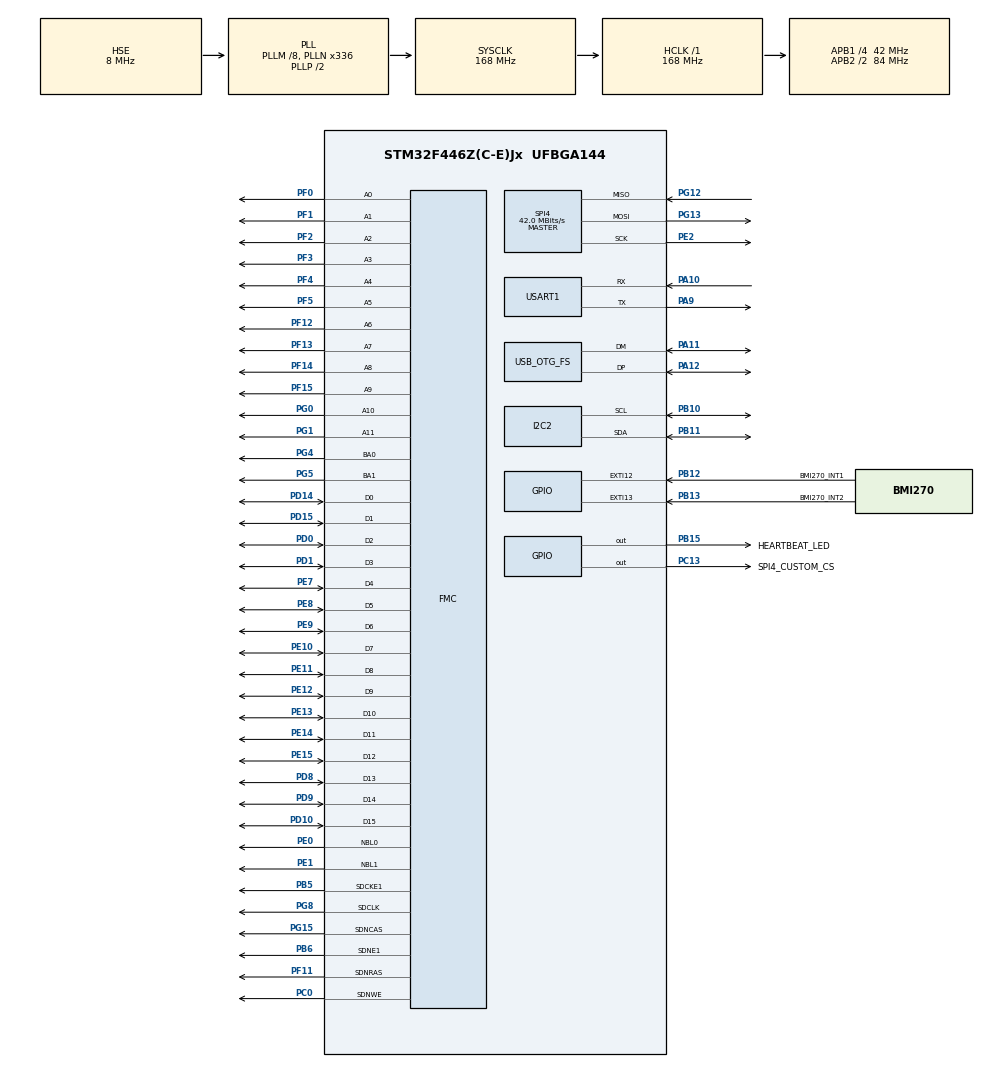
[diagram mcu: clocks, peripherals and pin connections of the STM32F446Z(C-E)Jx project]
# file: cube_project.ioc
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FMC.CASLatency1=FMC_SDRAM_CAS_LATENCY_2
FMC.ExitSelfRefreshDelay1=7
FMC.LoadToActiveDelay1=2
FMC.RCDDelay1=2
FMC.RPDelay1=2
FMC.RPDelay2=2
FMC.ReadPipeDelay1=FMC_SDRAM_RPIPE_DELAY_1
FMC.ReadPipeDelay2=FMC_SDRAM_RPIPE_DELAY_1
FMC.RowCycleDelay1=7
FMC.RowCycleDelay2=7
FMC.SDClockPeriod1=FMC_SDRAM_CLOCK_PERIOD_2
FMC.SDClockPeriod2=FMC_SDRAM_CLOCK_PERIOD_2
FMC.SelfRefreshTime1=4
FMC.WriteRecoveryTime1=3
Mcu.Family=STM32F4
Mcu.Name=STM32F446Z(C-E)Jx
Mcu.Package=UFBGA144
NVIC.PriorityGroup=NVIC_PRIORITYGROUP_4
PA10.Mode=Asynchronous
PA10.Signal=USART1_RX
PA11.Mode=Device_Only
PA11.Signal=USB_OTG_FS_DM
PA12.Mode=Device_Only
PA12.Signal=USB_OTG_FS_DP
PA13.Mode=Serial_Wire
PA13.Signal=SYS_JTMS-SWDIO
PA14.Mode=Serial_Wire
PA14.Signal=SYS_JTCK-SWCLK
PA9.Mode=Asynchronous
PA9.Signal=USART1_TX
PB10.Mode=I2C
PB10.Signal=I2C2_SCL
PB11.Mode=I2C
PB11.Signal=I2C2_SDA
PB12.GPIO_Label=BMI270_INT1
PB12.Signal=GPXTI12
PB13.GPIO_Label=BMI270_INT2
PB13.Signal=GPXTI13
PB15.GPIO_Label=HEARTBEAT_LED
PB15.Signal=GPIO_Output
PB5.Mode=SdramChipSelect2_1
PB5.Signal=FMC_SDCKE1
PB6.Mode=SdramChipSelect2_1
PB6.Signal=FMC_SDNE1
PC0.Signal=FMC_SDNWE
PC13.GPIO_Label=SPI4_CUSTOM_CS
PC13.Signal=GPIO_Output
PD0.Signal=FMC_D2_DA2
PD1.Signal=FMC_D3_DA3
PD10.Signal=FMC_D15_DA15
PD14.Signal=FMC_D0_DA0
PD15.Signal=FMC_D1_DA1
PD8.Signal=FMC_D13_DA13
PD9.Signal=FMC_D14_DA14
PE0.Signal=FMC_NBL0
PE1.Signal=FMC_NBL1
PE10.Signal=FMC_D7_DA7
PE11.Signal=FMC_D8_DA8
PE12.Signal=FMC_D9_DA9
PE13.Signal=FMC_D10_DA10
PE14.Signal=FMC_D11_DA11
PE15.Signal=FMC_D12_DA12
PE2.Mode=Full_Duplex_Master
PE2.Signal=SPI4_SCK
PE7.Signal=FMC_D4_DA4
PE8.Signal=FMC_D5_DA5
PE9.Signal=FMC_D6_DA6
PF0.Signal=FMC_A0
PF1.Signal=FMC_A1
PF11.Signal=FMC_SDNRAS
PF12.Signal=FMC_A6
PF13.Signal=FMC_A7
PF14.Signal=FMC_A8
PF15.Signal=FMC_A9
PF2.Signal=FMC_A2
PF3.Signal=FMC_A3
PF4.Signal=FMC_A4
PF5.Signal=FMC_A5
PG0.Signal=FMC_A10
PG1.Signal=FMC_A11
PG12.Mode=Full_Duplex_Master
PG12.Signal=SPI4_MISO
PG13.Mode=Full_Duplex_Master
PG13.Signal=SPI4_MOSI
PG15.Signal=FMC_SDNCAS
PG4.Signal=FMC_A14_BA0
PG5.Signal=FMC_A15_BA1
PG8.Signal=FMC_SDCLK
PH0-OSC_IN.Mode=HSE-External-Oscillator
PH0-OSC_IN.Signal=RCC_OSC_IN
PH1-OSC_OUT.Mode=HSE-External-Oscillator
PH1-OSC_OUT.Signal=RCC_OSC_OUT
ProjectManager.HeapSize=0x200
ProjectManager.StackSize=0x400
ProjectManager.TargetToolchain=STM32CubeIDE
RCC.AHBFreq_Value=168000000
RCC.APB1CLKDivider=RCC_HCLK_DIV4
RCC.APB1Freq_Value=42000000
RCC.APB1TimFreq_Value=84000000
RCC.APB2CLKDivider=RCC_HCLK_DIV2
RCC.APB2Freq_Value=84000000
RCC.APB2TimFreq_Value=168000000
RCC.CortexFreq_Value=168000000
RCC.HCLKFreq_Value=168000000
RCC.HSE_VALUE=8000000
RCC.PLLM=8
RCC.PLLN=336
RCC.PLLQ=7
RCC.SYSCLKFreq_VALUE=168000000
RCC.SYSCLKSource=RCC_SYSCLKSOURCE_PLLCLK
RCC.USBFreq_Value=48000000
RCC.VCOOutputFreq_Value=336000000
SH.FMC_A0.0=FMC_A0,12b-sda1
SH.FMC_A1.0=FMC_A1,12b-sda1
SH.FMC_A10.0=FMC_A10,12b-sda1
SH.FMC_A11.0=FMC_A11,12b-sda1
SH.FMC_A14_BA0.0=FMC_BA0,FourSdramBanks1
SH.FMC_A15_BA1.0=FMC_BA1,FourSdramBanks1
SH.FMC_A2.0=FMC_A2,12b-sda1
SH.FMC_A3.0=FMC_A3,12b-sda1
SH.FMC_A4.0=FMC_A4,12b-sda1
SH.FMC_A5.0=FMC_A5,12b-sda1
SH.FMC_A6.0=FMC_A6,12b-sda1
SH.FMC_A7.0=FMC_A7,12b-sda1
SH.FMC_A8.0=FMC_A8,12b-sda1
SH.FMC_A9.0=FMC_A9,12b-sda1
SH.FMC_D0_DA0.0=FMC_D0,sd-16b-d1
SH.FMC_D10_DA10.0=FMC_D10,sd-16b-d1
SH.FMC_D11_DA11.0=FMC_D11,sd-16b-d1
SH.FMC_D12_DA12.0=FMC_D12,sd-16b-d1
SH.FMC_D13_DA13.0=FMC_D13,sd-16b-d1
SH.FMC_D14_DA14.0=FMC_D14,sd-16b-d1
SH.FMC_D15_DA15.0=FMC_D15,sd-16b-d1
SH.FMC_D1_DA1.0=FMC_D1,sd-16b-d1
SH.FMC_D2_DA2.0=FMC_D2,sd-16b-d1
SH.FMC_D3_DA3.0=FMC_D3,sd-16b-d1
SH.FMC_D4_DA4.0=FMC_D4,sd-16b-d1
SH.FMC_D5_DA5.0=FMC_D5,sd-16b-d1
SH.FMC_D6_DA6.0=FMC_D6,sd-16b-d1
SH.FMC_D7_DA7.0=FMC_D7,sd-16b-d1
SH.FMC_D8_DA8.0=FMC_D8,sd-16b-d1
SH.FMC_D9_DA9.0=FMC_D9,sd-16b-d1
SH.FMC_NBL0.0=FMC_NBL0,Sd2ByteEnable1
SH.FMC_NBL1.0=FMC_NBL1,Sd2ByteEnable1
SH.FMC_SDCLK.0=FMC_SDCLK,12b-sda1
SH.FMC_SDNCAS.0=FMC_SDNCAS,12b-sda1
SH.FMC_SDNRAS.0=FMC_SDNRAS,12b-sda1
SH.FMC_SDNWE.0=FMC_SDNWE,12b-sda1
SPI4.CalculateBaudRate=42.0 MBits/s
SPI4.Direction=SPI_DIRECTION_2LINES
SPI4.Mode=SPI_MODE_MASTER
SPI4.VirtualType=VM_MASTER
USART1.VirtualMode=VM_ASYNC
USB_OTG_FS.VirtualMode=Device_Only
board=custom

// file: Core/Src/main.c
/* USER CODE BEGIN Header */
/**
  ******************************************************************************
  * @file           : main.c
  * @brief          : Main program body
  ******************************************************************************
  * @attention
  *
  * Copyright (c) 2023 STMicroelectronics.
  * All rights reserved.
  *
  * This software is licensed under terms that can be found in the LICENSE file
  * in the root directory of this software component.
  * If no LICENSE file comes with this software, it is provided AS-IS.
  *
  ******************************************************************************
  */
/* USER CODE END Header */
#include "main.h"

/* USER CODE BEGIN Includes */
#include "sdram.h"
#include "bmi270.h"
#include "bmi270_port.h"
#include <stdio.h>
/* USER CODE END Includes */

/* USER CODE BEGIN PD */
/*! Earth's gravity in m/s^2 */
#define GRAVITY_EARTH  (9.80665f)
/* USER CODE END PD */

I2C_HandleTypeDef hi2c2;

SPI_HandleTypeDef hspi4;

UART_HandleTypeDef huart1;

PCD_HandleTypeDef hpcd_USB_OTG_FS;

SDRAM_HandleTypeDef hsdram1;

void SystemClock_Config(void);
static void MX_GPIO_Init(void);
static void MX_FMC_Init(void);
static void MX_I2C2_Init(void);
static void MX_USART1_UART_Init(void);
static void MX_USB_OTG_FS_PCD_Init(void);
static void MX_SPI4_Init(void);
/* USER CODE BEGIN PFP */
static int8_t set_accel_config(struct bmi2_dev *bmi2_dev);
static float lsb_to_mps2(int16_t val, float g_range, uint8_t bit_width);
static void process_bmi270_test();
/* USER CODE END PFP */

int main(void)
{

  /* MCU Configuration--------------------------------------------------------*/

  /* Reset of all peripherals, Initializes the Flash interface and the Systick. */
  HAL_Init();

  /* Configure the system clock */
  SystemClock_Config();

  /* Initialize all configured peripherals */
  MX_GPIO_Init();
  MX_FMC_Init();
  MX_I2C2_Init();
  MX_USART1_UART_Init();
  MX_USB_OTG_FS_PCD_Init();
  MX_SPI4_Init();
  /* USER CODE BEGIN 2 */
  bsp_sdram_init(&hsdram1);
  uint8_t testStatus = bsp_sdram_perform_test(&hsdram1);
  set_active_i2s_bus(&hi2c2);
  process_bmi270_test();
  /* USER CODE END 2 */

  /* Infinite loop */
  /* USER CODE BEGIN WHILE */
  while (1)
  {
	  if(!testStatus){
	 		  HAL_GPIO_TogglePin(HEARTBEAT_LED_GPIO_Port, HEARTBEAT_LED_Pin);
	 		  HAL_Delay(100);
	 	  }
	 	  else{
	 		 HAL_GPIO_TogglePin(HEARTBEAT_LED_GPIO_Port, HEARTBEAT_LED_Pin);
	 		 HAL_Delay(1000);
	 	  }

    /* USER CODE END WHILE */

  }
}

void SystemClock_Config(void)
{
  RCC_OscInitTypeDef RCC_OscInitStruct = {0};
  RCC_ClkInitTypeDef RCC_ClkInitStruct = {0};

  /** Configure the main internal regulator output voltage
  */
  __HAL_RCC_PWR_CLK_ENABLE();
  __HAL_PWR_VOLTAGESCALING_CONFIG(PWR_REGULATOR_VOLTAGE_SCALE1);

  /** Initializes the RCC Oscillators according to the specified parameters
  * in the RCC_OscInitTypeDef structure.
  */
  RCC_OscInitStruct.OscillatorType = RCC_OSCILLATORTYPE_HSE;
  RCC_OscInitStruct.HSEState = RCC_HSE_ON;
  RCC_OscInitStruct.PLL.PLLState = RCC_PLL_ON;
  RCC_OscInitStruct.PLL.PLLSource = RCC_PLLSOURCE_HSE;
  RCC_OscInitStruct.PLL.PLLM = 8;
  RCC_OscInitStruct.PLL.PLLN = 336;
  RCC_OscInitStruct.PLL.PLLP = RCC_PLLP_DIV2;
  RCC_OscInitStruct.PLL.PLLQ = 7;
  RCC_OscInitStruct.PLL.PLLR = 2;
  if (HAL_RCC_OscConfig(&RCC_OscInitStruct) != HAL_OK)
  {
    Error_Handler();
  }

  /** Initializes the CPU, AHB and APB buses clocks
  */
  RCC_ClkInitStruct.ClockType = RCC_CLOCKTYPE_HCLK|RCC_CLOCKTYPE_SYSCLK
                              |RCC_CLOCKTYPE_PCLK1|RCC_CLOCKTYPE_PCLK2;
  RCC_ClkInitStruct.SYSCLKSource = RCC_SYSCLKSOURCE_PLLCLK;
  RCC_ClkInitStruct.AHBCLKDivider = RCC_SYSCLK_DIV1;
  RCC_ClkInitStruct.APB1CLKDivider = RCC_HCLK_DIV4;
  RCC_ClkInitStruct.APB2CLKDivider = RCC_HCLK_DIV2;

  if (HAL_RCC_ClockConfig(&RCC_ClkInitStruct, FLASH_LATENCY_5) != HAL_OK)
  {
    Error_Handler();
  }
}

static void MX_I2C2_Init(void)
{

  hi2c2.Instance = I2C2;
  hi2c2.Init.ClockSpeed = 100000;
  hi2c2.Init.DutyCycle = I2C_DUTYCYCLE_2;
  hi2c2.Init.OwnAddress1 = 0;
  hi2c2.Init.AddressingMode = I2C_ADDRESSINGMODE_7BIT;
  hi2c2.Init.DualAddressMode = I2C_DUALADDRESS_DISABLE;
  hi2c2.Init.OwnAddress2 = 0;
  hi2c2.Init.GeneralCallMode = I2C_GENERALCALL_DISABLE;
  hi2c2.Init.NoStretchMode = I2C_NOSTRETCH_DISABLE;
  if (HAL_I2C_Init(&hi2c2) != HAL_OK)
  {
    Error_Handler();
  }

}

static void MX_SPI4_Init(void)
{

  /* SPI4 parameter configuration*/
  hspi4.Instance = SPI4;
  hspi4.Init.Mode = SPI_MODE_MASTER;
  hspi4.Init.Direction = SPI_DIRECTION_2LINES;
  hspi4.Init.DataSize = SPI_DATASIZE_8BIT;
  hspi4.Init.CLKPolarity = SPI_POLARITY_LOW;
  hspi4.Init.CLKPhase = SPI_PHASE_1EDGE;
  hspi4.Init.NSS = SPI_NSS_SOFT;
  hspi4.Init.BaudRatePrescaler = SPI_BAUDRATEPRESCALER_2;
  hspi4.Init.FirstBit = SPI_FIRSTBIT_MSB;
  hspi4.Init.TIMode = SPI_TIMODE_DISABLE;
  hspi4.Init.CRCCalculation = SPI_CRCCALCULATION_DISABLE;
  hspi4.Init.CRCPolynomial = 10;
  if (HAL_SPI_Init(&hspi4) != HAL_OK)
  {
    Error_Handler();
  }

}

static void MX_USART1_UART_Init(void)
{

  huart1.Instance = USART1;
  huart1.Init.BaudRate = 115200;
  huart1.Init.WordLength = UART_WORDLENGTH_8B;
  huart1.Init.StopBits = UART_STOPBITS_1;
  huart1.Init.Parity = UART_PARITY_NONE;
  huart1.Init.Mode = UART_MODE_TX_RX;
  huart1.Init.HwFlowCtl = UART_HWCONTROL_NONE;
  huart1.Init.OverSampling = UART_OVERSAMPLING_16;
  if (HAL_UART_Init(&huart1) != HAL_OK)
  {
    Error_Handler();
  }

}

static void MX_USB_OTG_FS_PCD_Init(void)
{

  hpcd_USB_OTG_FS.Instance = USB_OTG_FS;
  hpcd_USB_OTG_FS.Init.dev_endpoints = 6;
  hpcd_USB_OTG_FS.Init.speed = PCD_SPEED_FULL;
  hpcd_USB_OTG_FS.Init.dma_enable = DISABLE;
  hpcd_USB_OTG_FS.Init.phy_itface = PCD_PHY_EMBEDDED;
  hpcd_USB_OTG_FS.Init.Sof_enable = DISABLE;
  hpcd_USB_OTG_FS.Init.low_power_enable = DISABLE;
  hpcd_USB_OTG_FS.Init.lpm_enable = DISABLE;
  hpcd_USB_OTG_FS.Init.vbus_sensing_enable = DISABLE;
  hpcd_USB_OTG_FS.Init.use_dedicated_ep1 = DISABLE;
  if (HAL_PCD_Init(&hpcd_USB_OTG_FS) != HAL_OK)
  {
    Error_Handler();
  }

}

/* FMC initialization function */
static void MX_FMC_Init(void)
{

  FMC_SDRAM_TimingTypeDef SdramTiming = {0};

  /** Perform the SDRAM1 memory initialization sequence
  */
  hsdram1.Instance = FMC_SDRAM_DEVICE;
  /* hsdram1.Init */
  hsdram1.Init.SDBank = FMC_SDRAM_BANK2;
  hsdram1.Init.ColumnBitsNumber = FMC_SDRAM_COLUMN_BITS_NUM_8;
  hsdram1.Init.RowBitsNumber = FMC_SDRAM_ROW_BITS_NUM_12;
  hsdram1.Init.MemoryDataWidth = FMC_SDRAM_MEM_BUS_WIDTH_16;
  hsdram1.Init.InternalBankNumber = FMC_SDRAM_INTERN_BANKS_NUM_4;
  hsdram1.Init.CASLatency = FMC_SDRAM_CAS_LATENCY_2;
  hsdram1.Init.WriteProtection = FMC_SDRAM_WRITE_PROTECTION_DISABLE;
  hsdram1.Init.SDClockPeriod = FMC_SDRAM_CLOCK_PERIOD_2;
  hsdram1.Init.ReadBurst = FMC_SDRAM_RBURST_DISABLE;
  hsdram1.Init.ReadPipeDelay = FMC_SDRAM_RPIPE_DELAY_1;
  /* SdramTiming */
  SdramTiming.LoadToActiveDelay = 2;
  SdramTiming.ExitSelfRefreshDelay = 7;
  SdramTiming.SelfRefreshTime = 4;
  SdramTiming.RowCycleDelay = 7;
  SdramTiming.WriteRecoveryTime = 3;
  SdramTiming.RPDelay = 2;
  SdramTiming.RCDDelay = 2;

  if (HAL_SDRAM_Init(&hsdram1, &SdramTiming) != HAL_OK)
  {
    Error_Handler( );
  }

}

static void MX_GPIO_Init(void)
{
  GPIO_InitTypeDef GPIO_InitStruct = {0};

  /* GPIO Ports Clock Enable */
  __HAL_RCC_GPIOC_CLK_ENABLE();
  __HAL_RCC_GPIOE_CLK_ENABLE();
  __HAL_RCC_GPIOA_CLK_ENABLE();
  __HAL_RCC_GPIOB_CLK_ENABLE();
  __HAL_RCC_GPIOG_CLK_ENABLE();
  __HAL_RCC_GPIOF_CLK_ENABLE();
  __HAL_RCC_GPIOH_CLK_ENABLE();
  __HAL_RCC_GPIOD_CLK_ENABLE();

  /*Configure GPIO pin Output Level */
  HAL_GPIO_WritePin(SPI4_CUSTOM_CS_GPIO_Port, SPI4_CUSTOM_CS_Pin, GPIO_PIN_RESET);

  /*Configure GPIO pin Output Level */
  HAL_GPIO_WritePin(HEARTBEAT_LED_GPIO_Port, HEARTBEAT_LED_Pin, GPIO_PIN_RESET);

  /*Configure GPIO pin : SPI4_CUSTOM_CS_Pin */
  GPIO_InitStruct.Pin = SPI4_CUSTOM_CS_Pin;
  GPIO_InitStruct.Mode = GPIO_MODE_OUTPUT_PP;
  GPIO_InitStruct.Pull = GPIO_NOPULL;
  GPIO_InitStruct.Speed = GPIO_SPEED_FREQ_LOW;
  HAL_GPIO_Init(SPI4_CUSTOM_CS_GPIO_Port, &GPIO_InitStruct);

  /*Configure GPIO pin : HEARTBEAT_LED_Pin */
  GPIO_InitStruct.Pin = HEARTBEAT_LED_Pin;
  GPIO_InitStruct.Mode = GPIO_MODE_OUTPUT_PP;
  GPIO_InitStruct.Pull = GPIO_NOPULL;
  GPIO_InitStruct.Speed = GPIO_SPEED_FREQ_LOW;
  HAL_GPIO_Init(HEARTBEAT_LED_GPIO_Port, &GPIO_InitStruct);

  /*Configure GPIO pins : BMI270_INT1_Pin BMI270_INT2_Pin */
  GPIO_InitStruct.Pin = BMI270_INT1_Pin|BMI270_INT2_Pin;
  GPIO_InitStruct.Mode = GPIO_MODE_IT_RISING;
  GPIO_InitStruct.Pull = GPIO_NOPULL;
  HAL_GPIO_Init(GPIOB, &GPIO_InitStruct);

}

/* USER CODE BEGIN 4 */
void process_bmi270_test()
{
    /* Status of api are returned to this variable. */
    int8_t rslt;

    /* Variable to define limit to print accel data. */
    uint8_t limit = 20;

    /* Assign accel sensor to variable. */
    uint8_t sensor_list = BMI2_ACCEL;

    /* Sensor initialization configuration. */
    struct bmi2_dev bmi2_dev;

    /* Create an instance of sensor data structure. */
    struct bmi2_sens_data sensor_data = { { 0 } };

    /* Initialize the interrupt status of accel. */
    uint16_t int_status = 0;

    uint8_t indx = 0;
    float x = 0, y = 0, z = 0;

    /* Interface reference is given as a parameter
     * For I2C : BMI2_I2C_INTF
     * For SPI : BMI2_SPI_INTF
     */
    rslt = bmi2_interface_init(&bmi2_dev, BMI2_I2C_INTF);
    bmi2_error_codes_print_result(rslt);

    /* Initialize bmi270. */
    rslt = bmi270_init(&bmi2_dev);
    bmi2_error_codes_print_result(rslt);

    if (rslt == BMI2_OK)
    {
        /* Accel configuration settings. */
        rslt = set_accel_config(&bmi2_dev);
        bmi2_error_codes_print_result(rslt);

        if (rslt == BMI2_OK)
        {
            /* NOTE:
             * Accel enable must be done after setting configurations
             */
            rslt = bmi270_sensor_enable(&sensor_list, 1, &bmi2_dev);
            bmi2_error_codes_print_result(rslt);

            printf("Accel and m/s2 data \n");
            printf("Accel data collected at 2G Range with 16-bit resolution\n");

            /* Loop to print the accel data when interrupt occurs. */
            while (indx <= limit)
            {
                /* To get the status of accel data ready interrupt. */
                rslt = bmi2_get_int_status(&int_status, &bmi2_dev);
                bmi2_error_codes_print_result(rslt);

                /* To check the accel data ready interrupt status and print the status for 10 samples. */
                if (int_status & BMI2_ACC_DRDY_INT_MASK)
                {
                    /* Get accelerometer data for x, y and z axis. */
                    rslt = bmi2_get_sensor_data(&sensor_data, &bmi2_dev);
                    bmi2_error_codes_print_result(rslt);
                    printf("\nAcc_X = %d\t", sensor_data.acc.x);
                    printf("Acc_Y = %d\t", sensor_data.acc.y);
                    printf("Acc_Z = %d\r\n", sensor_data.acc.z);

                    /* Converting lsb to meter per second squared for 16 bit accelerometer at 2G range. */
                    x = lsb_to_mps2(sensor_data.acc.x, 2, bmi2_dev.resolution);
                    y = lsb_to_mps2(sensor_data.acc.y, 2, bmi2_dev.resolution);
                    z = lsb_to_mps2(sensor_data.acc.z, 2, bmi2_dev.resolution);

                    /* Print the data in m/s2. */
                    //printf("\nAcc_ms2_X = %4.2f, Acc_ms2_Y = %4.2f, Acc_ms2_Z = %4.2f\n", x, y, z);

                    indx++;
                }
            }
        }
    }
}

static float lsb_to_mps2(int16_t val, float g_range, uint8_t bit_width)
{
    float half_scale = ((float)(1 << bit_width) / 2.0f);

    return (GRAVITY_EARTH * val * g_range) / half_scale;
}

static int8_t set_accel_config(struct bmi2_dev *bmi2_dev)
{
    /* Status of api are returned to this variable. */
    int8_t rslt;

    /* Structure to define accelerometer configuration. */
    struct bmi2_sens_config config;

    /* Configure the type of feature. */
    config.type = BMI2_ACCEL;

    /* Get default configurations for the type of feature selected. */
    rslt = bmi270_get_sensor_config(&config, 1, bmi2_dev);
    bmi2_error_codes_print_result(rslt);

    if (rslt == BMI2_OK)
    {
        /* NOTE: The user can change the following configuration parameters according to their requirement. */
        /* Set Output Data Rate */
        config.cfg.acc.odr = BMI2_ACC_ODR_200HZ;

        /* Gravity range of the sensor (+/- 2G, 4G, 8G, 16G). */
        config.cfg.acc.range = BMI2_ACC_RANGE_2G;

        /* The bandwidth parameter is used to configure the number of sensor samples that are averaged
         * if it is set to 2, then 2^(bandwidth parameter) samples
         * are averaged, resulting in 4 averaged samples.
         * Note1 : For more information, refer the datasheet.
         * Note2 : A higher number of averaged samples will result in a lower noise level of the signal, but
         * this has an adverse effect on the power consumed.
         */
        config.cfg.acc.bwp = BMI2_ACC_NORMAL_AVG4;

        /* Enable the filter performance mode where averaging of samples
         * will be done based on above set bandwidth and ODR.
         * There are two modes
         *  0 -> Ultra low power mode
         *  1 -> High performance mode(Default)
         * For more info refer datasheet.
         */
        config.cfg.acc.filter_perf = BMI2_PERF_OPT_MODE;

        /* Set the accel configurations. */
        rslt = bmi270_set_sensor_config(&config, 1, bmi2_dev);
        bmi2_error_codes_print_result(rslt);

        /* Map data ready interrupt to interrupt pin. */
        rslt = bmi2_map_data_int(BMI2_DRDY_INT, BMI2_INT1, bmi2_dev);
        bmi2_error_codes_print_result(rslt);
    }

    return rslt;
}

/* USER CODE END 4 */

void Error_Handler(void)
{
  __disable_irq();
  while (1)
  {
  }
}
